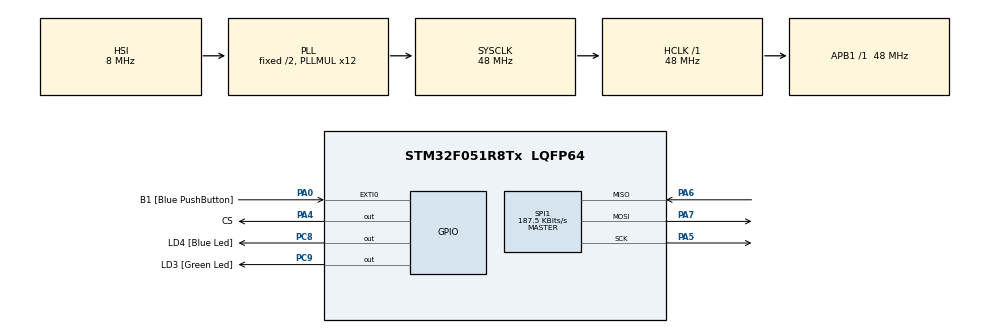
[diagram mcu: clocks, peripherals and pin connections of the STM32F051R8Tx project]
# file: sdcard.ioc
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Mcu.Family=STM32F0
Mcu.Name=STM32F051R8Tx
Mcu.Package=LQFP64
PA0.GPIO_Label=B1 [Blue PushButton]
PA0.GPIO_ModeDefaultEXTI=GPIO_MODE_EVT_RISING
PA0.Signal=GPXTI0
PA13.GPIO_Label=SWDIO
PA13.Signal=SYS_SWDIO
PA14.GPIO_Label=SWCLK
PA14.Signal=SYS_SWCLK
PA4.GPIO_Label=CS
PA4.GPIO_PuPd=GPIO_PULLUP
PA4.PinState=GPIO_PIN_SET
PA4.Signal=GPIO_Output
PA5.Mode=Full_Duplex_Master
PA5.Signal=SPI1_SCK
PA6.Mode=Full_Duplex_Master
PA6.Signal=SPI1_MISO
PA7.Mode=Full_Duplex_Master
PA7.Signal=SPI1_MOSI
PC8.GPIO_Label=LD4 [Blue Led]
PC8.Signal=GPIO_Output
PC9.GPIO_Label=LD3 [Green Led]
PC9.Signal=GPIO_Output
ProjectManager.HeapSize=0x200
ProjectManager.StackSize=0x400
ProjectManager.TargetToolchain=SW4STM32
RCC.AHBFreq_Value=48000000
RCC.APB1Freq_Value=48000000
RCC.APB1TimFreq_Value=48000000
RCC.HCLKFreq_Value=48000000
RCC.PLLMUL=RCC_PLL_MUL12
RCC.SYSCLKFreq_VALUE=48000000
RCC.SYSCLKSource=RCC_SYSCLKSOURCE_PLLCLK
SPI1.BaudRatePrescaler=SPI_BAUDRATEPRESCALER_256
SPI1.CLKPhase=SPI_PHASE_1EDGE
SPI1.CLKPolarity=SPI_POLARITY_LOW
SPI1.CRCCalculation=SPI_CRCCALCULATION_ENABLE
SPI1.CalculateBaudRate=187.5 KBits/s
SPI1.DataSize=SPI_DATASIZE_8BIT
SPI1.Direction=SPI_DIRECTION_2LINES
SPI1.Mode=SPI_MODE_MASTER
SPI1.VirtualType=VM_MASTER
board=STM32F0DISCOVERY

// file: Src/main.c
/**
  ******************************************************************************
  * File Name          : main.c
  * Description        : Main program body
  ******************************************************************************
  ** This notice applies to any and all portions of this file
  * that are not between comment pairs USER CODE BEGIN and
  * USER CODE END. Other portions of this file, whether
  * inserted by the user or by software development tools
  * are owned by their respective copyright owners.
  *
  * COPYRIGHT(c) 2017 STMicroelectronics
  *
  * Redistribution and use in source and binary forms, with or without modification,
  * are permitted provided that the following conditions are met:
  *   1. Redistributions of source code must retain the above copyright notice,
  *      this list of conditions and the following disclaimer.
  *   2. Redistributions in binary form must reproduce the above copyright notice,
  *      this list of conditions and the following disclaimer in the documentation
  *      and/or other materials provided with the distribution.
  *   3. Neither the name of STMicroelectronics nor the names of its contributors
  *      may be used to endorse or promote products derived from this software
  *      without specific prior written permission.
  *
  * THIS SOFTWARE IS PROVIDED BY THE COPYRIGHT HOLDERS AND CONTRIBUTORS "AS IS"
  * AND ANY EXPRESS OR IMPLIED WARRANTIES, INCLUDING, BUT NOT LIMITED TO, THE
  * IMPLIED WARRANTIES OF MERCHANTABILITY AND FITNESS FOR A PARTICULAR PURPOSE ARE
  * DISCLAIMED. IN NO EVENT SHALL THE COPYRIGHT HOLDER OR CONTRIBUTORS BE LIABLE
  * FOR ANY DIRECT, INDIRECT, INCIDENTAL, SPECIAL, EXEMPLARY, OR CONSEQUENTIAL
  * DAMAGES (INCLUDING, BUT NOT LIMITED TO, PROCUREMENT OF SUBSTITUTE GOODS OR
  * SERVICES; LOSS OF USE, DATA, OR PROFITS; OR BUSINESS INTERRUPTION) HOWEVER
  * CAUSED AND ON ANY THEORY OF LIABILITY, WHETHER IN CONTRACT, STRICT LIABILITY,
  * OR TORT (INCLUDING NEGLIGENCE OR OTHERWISE) ARISING IN ANY WAY OUT OF THE USE
  * OF THIS SOFTWARE, EVEN IF ADVISED OF THE POSSIBILITY OF SUCH DAMAGE.
  *
  ******************************************************************************
  */
#include "main.h"
#include "stm32f0xx_hal.h"

SPI_HandleTypeDef hspi1;

/* USER CODE BEGIN PV */
/* Private variables ---------------------------------------------------------*/

/* USER CODE END PV */

void SystemClock_Config(void);
static void MX_GPIO_Init(void);
static void MX_SPI1_Init(void);

/* USER CODE BEGIN PFP */
/* Private function prototypes -----------------------------------------------*/
static void initSD(void);
/* USER CODE END PFP */

/* USER CODE BEGIN 0 */

uint8_t cmd0[] = {0x40,0x00,0x00,0x00,0x00,0x95}; //go to idle‬
uint8_t cmd8[] = {0x48,0x00,0x00,0x01,0xAA,0x87}; //check voltage
uint8_t cmd55[] = {0x77, 0x00, 0x00, 0x00, 0x00, 0xFF};
uint8_t acmd41[] = {0x69, 0x40, 0x00, 0x00, 0x00, 0xFF};

/* USER CODE END 0 */

int main(void)
{

  /* MCU Configuration----------------------------------------------------------*/

  /* Reset of all peripherals, Initializes the Flash interface and the Systick. */
  HAL_Init();

  /* Configure the system clock */
  SystemClock_Config();

  /* Initialize all configured peripherals */
  MX_GPIO_Init();
  MX_SPI1_Init();

  /* USER CODE BEGIN 2 */
  initSD();
  /* USER CODE END 2 */

  /* Infinite loop */
  while (1)
  {

  /* USER CODE BEGIN 3 */
	  HAL_Delay(100);

  }
  /* USER CODE END 3 */

}

/** System Clock Configuration
*/
void SystemClock_Config(void)
{

  RCC_OscInitTypeDef RCC_OscInitStruct;
  RCC_ClkInitTypeDef RCC_ClkInitStruct;

    /**Initializes the CPU, AHB and APB busses clocks
    */
  RCC_OscInitStruct.OscillatorType = RCC_OSCILLATORTYPE_HSI;
  RCC_OscInitStruct.HSIState = RCC_HSI_ON;
  RCC_OscInitStruct.HSICalibrationValue = 16;
  RCC_OscInitStruct.PLL.PLLState = RCC_PLL_ON;
  RCC_OscInitStruct.PLL.PLLSource = RCC_PLLSOURCE_HSI;
  RCC_OscInitStruct.PLL.PLLMUL = RCC_PLL_MUL12;
  RCC_OscInitStruct.PLL.PREDIV = RCC_PREDIV_DIV1;
  if (HAL_RCC_OscConfig(&RCC_OscInitStruct) != HAL_OK)
  {
    _Error_Handler(__FILE__, __LINE__);
  }

    /**Initializes the CPU, AHB and APB busses clocks
    */
  RCC_ClkInitStruct.ClockType = RCC_CLOCKTYPE_HCLK|RCC_CLOCKTYPE_SYSCLK
                              |RCC_CLOCKTYPE_PCLK1;
  RCC_ClkInitStruct.SYSCLKSource = RCC_SYSCLKSOURCE_PLLCLK;
  RCC_ClkInitStruct.AHBCLKDivider = RCC_SYSCLK_DIV1;
  RCC_ClkInitStruct.APB1CLKDivider = RCC_HCLK_DIV1;

  if (HAL_RCC_ClockConfig(&RCC_ClkInitStruct, FLASH_LATENCY_1) != HAL_OK)
  {
    _Error_Handler(__FILE__, __LINE__);
  }

    /**Configure the Systick interrupt time
    */
  HAL_SYSTICK_Config(HAL_RCC_GetHCLKFreq()/1000);

    /**Configure the Systick
    */
  HAL_SYSTICK_CLKSourceConfig(SYSTICK_CLKSOURCE_HCLK);

  /* SysTick_IRQn interrupt configuration */
  HAL_NVIC_SetPriority(SysTick_IRQn, 0, 0);
}

/* SPI1 init function */
static void MX_SPI1_Init(void)
{

  /* SPI1 parameter configuration*/
  hspi1.Instance = SPI1;
  hspi1.Init.Mode = SPI_MODE_MASTER;
  hspi1.Init.Direction = SPI_DIRECTION_2LINES;
  hspi1.Init.DataSize = SPI_DATASIZE_8BIT;
  hspi1.Init.CLKPolarity = SPI_POLARITY_LOW;
  hspi1.Init.CLKPhase = SPI_PHASE_1EDGE;
  hspi1.Init.NSS = SPI_NSS_SOFT;
  hspi1.Init.BaudRatePrescaler = SPI_BAUDRATEPRESCALER_256;
  hspi1.Init.FirstBit = SPI_FIRSTBIT_MSB;
  hspi1.Init.TIMode = SPI_TIMODE_DISABLE;
  hspi1.Init.CRCCalculation = SPI_CRCCALCULATION_ENABLE;
  hspi1.Init.CRCPolynomial = 7;
  hspi1.Init.CRCLength = SPI_CRC_LENGTH_DATASIZE;
  hspi1.Init.NSSPMode = SPI_NSS_PULSE_ENABLE;
  if (HAL_SPI_Init(&hspi1) != HAL_OK)
  {
    _Error_Handler(__FILE__, __LINE__);
  }

}

/** Configure pins as
        * Analog
        * Input
        * Output
        * EVENT_OUT
        * EXTI
*/
static void MX_GPIO_Init(void)
{

  GPIO_InitTypeDef GPIO_InitStruct;

  /* GPIO Ports Clock Enable */
  __HAL_RCC_GPIOA_CLK_ENABLE();
  __HAL_RCC_GPIOC_CLK_ENABLE();

  /*Configure GPIO pin Output Level */
  HAL_GPIO_WritePin(CS_GPIO_Port, CS_Pin, GPIO_PIN_SET);

  /*Configure GPIO pin Output Level */
  HAL_GPIO_WritePin(GPIOC, LD4_Pin|LD3_Pin, GPIO_PIN_RESET);

  /*Configure GPIO pin : B1_Pin */
  GPIO_InitStruct.Pin = B1_Pin;
  GPIO_InitStruct.Mode = GPIO_MODE_EVT_RISING;
  GPIO_InitStruct.Pull = GPIO_NOPULL;
  HAL_GPIO_Init(B1_GPIO_Port, &GPIO_InitStruct);

  /*Configure GPIO pin : CS_Pin */
  GPIO_InitStruct.Pin = CS_Pin;
  GPIO_InitStruct.Mode = GPIO_MODE_OUTPUT_PP;
  GPIO_InitStruct.Pull = GPIO_PULLUP;
  GPIO_InitStruct.Speed = GPIO_SPEED_FREQ_LOW;
  HAL_GPIO_Init(CS_GPIO_Port, &GPIO_InitStruct);

  /*Configure GPIO pins : LD4_Pin LD3_Pin */
  GPIO_InitStruct.Pin = LD4_Pin|LD3_Pin;
  GPIO_InitStruct.Mode = GPIO_MODE_OUTPUT_PP;
  GPIO_InitStruct.Pull = GPIO_NOPULL;
  GPIO_InitStruct.Speed = GPIO_SPEED_FREQ_LOW;
  HAL_GPIO_Init(GPIOC, &GPIO_InitStruct);

}

/* USER CODE BEGIN 4 */

static void initSD(void)
{
	uint8_t dummy_data = 0xff;
	uint8_t response_data[8] = {0};
	/*send dummy clock*/
	HAL_GPIO_WritePin(CS_GPIO_Port, CS_Pin, GPIO_PIN_SET);
	for(int i = 0; i < 10; ++i)
	{
		(void)HAL_SPI_Transmit(&hspi1, dummy_data, 8, 10 /*10ms timeout*/);
	}
	while (HAL_SPI_GetState(&hspi1) != HAL_SPI_STATE_READY);

	/*go to idle state, cmd0*/
	HAL_GPIO_WritePin(CS_GPIO_Port, CS_Pin, GPIO_PIN_RESET);
	for(int i = 0; i < 6; ++i)
	{
		(void)HAL_SPI_Transmit(&hspi1, &cmd0[i], 8, 10 /*10ms timeout*/);
	}
	while (HAL_SPI_GetState(&hspi1) != HAL_SPI_STATE_READY);
	HAL_GPIO_WritePin(CS_GPIO_Port, CS_Pin, GPIO_PIN_SET);
	/*response checking*/
	HAL_SPI_Receive(&hspi1, response_data, 8, 10);
	HAL_Delay(10);//respond
/*
	HAL_SPI_Receive(&hspi1, &ack, 8, 10);
	if( 0x01 != ack )
		_Error_Handler("main.c: init failed", 255);
*/
	/*go to idle state*/
	HAL_GPIO_WritePin(CS_GPIO_Port, CS_Pin, GPIO_PIN_RESET);
	for(int i = 0; i < (sizeof(cmd8)/sizeof(cmd8[0])); ++i)
	{
		(void)HAL_SPI_Transmit(&hspi1, &cmd8[i], 8, 10 /*10ms timeout*/);
	}
	while (HAL_SPI_GetState(&hspi1) != HAL_SPI_STATE_READY);
	HAL_GPIO_WritePin(CS_GPIO_Port, CS_Pin, GPIO_PIN_SET);
	HAL_Delay(10);// respond
/*
	for(int i = 0; i < 6; ++i)
	{
		(void)HAL_SPI_Receive(&hspi1, &cmd[i], 8, 10);
	}

	while (HAL_SPI_GetState(&hspi1) != HAL_SPI_STATE_READY);
*/
	HAL_GPIO_WritePin(CS_GPIO_Port, CS_Pin, GPIO_PIN_RESET);
	for(int i = 0; i < (sizeof(cmd55)/sizeof(cmd55[0])); ++i)
	{
		(void)HAL_SPI_Transmit(&hspi1, &cmd55[i], 8, 10 /*10ms timeout*/);
	}
	while (HAL_SPI_GetState(&hspi1) != HAL_SPI_STATE_READY);
	HAL_GPIO_WritePin(CS_GPIO_Port, CS_Pin, GPIO_PIN_SET);
	HAL_Delay(10); //respond

	HAL_GPIO_WritePin(CS_GPIO_Port, CS_Pin, GPIO_PIN_RESET);
	for(int i = 0; i < (sizeof(acmd41)/sizeof(acmd41[0])); ++i)
	{
		(void)HAL_SPI_Transmit(&hspi1, &acmd41[i], 8, 10 /*10ms timeout*/);
	}
	while (HAL_SPI_GetState(&hspi1) != HAL_SPI_STATE_READY);
	HAL_GPIO_WritePin(CS_GPIO_Port, CS_Pin, GPIO_PIN_SET);
	HAL_Delay(10); //respond
}

/* USER CODE END 4 */

void _Error_Handler(char * file, int line)
{
  while(1)
  {
  }
}

/************************ (C) COPYRIGHT STMicroelectronics *****END OF FILE****/
